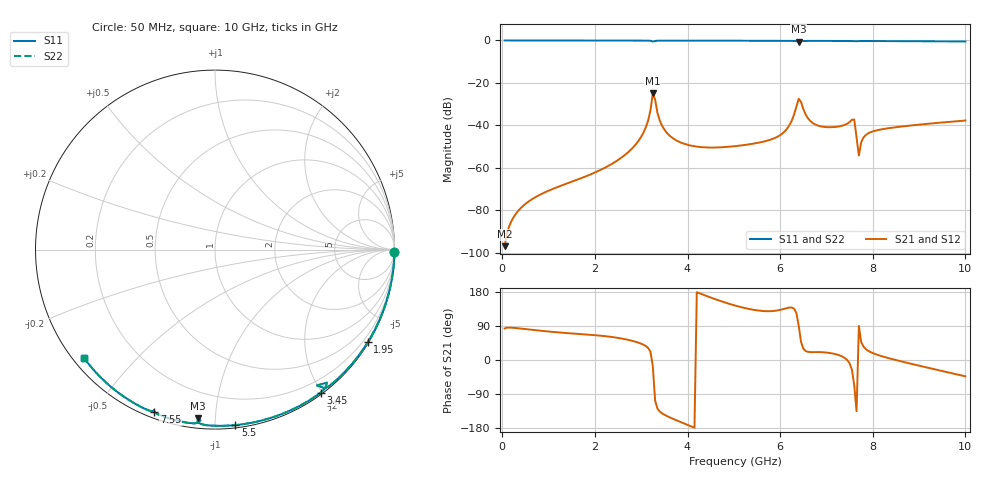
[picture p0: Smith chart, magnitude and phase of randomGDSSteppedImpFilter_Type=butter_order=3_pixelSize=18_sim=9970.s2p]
! freq	dB(S11)	phase(S11)	dB(S12)	phase(S12)
!  dB(S21)	phase(S21)	dB(S22)	phase(S22)
!S-par simulation data
#  GHz  S  DB  R 50
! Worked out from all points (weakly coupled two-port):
!   200 points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, 50 MHz to 10 GHz, reference 50 ohm
!   highest |S21| = -24.96 dB at 3.25 GHz (marker M1); lowest = -96.9 dB at 50 MHz (marker M2)
!   lowest |S11| = -0.5 dB at 6.4 GHz (marker M3), VSWR 33.59, Z = 2.71 - j45.2 ohm
!   |S11| at or under -10 dB: nowhere
!   |S22| runs from -0.5 to 0.0 dB; largest |S21 - S12| = 0
!   S11 on the Smith chart (normalised r, x): 50 MHz: open; 1.95 GHz: 0.03, -3.58; 3.45 GHz: 0.02, -1.98; 5.5 GHz: 0.02, -1.12; 7.55 GHz: 0.03, -0.69; 10 GHz: 0.03, -0.36
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0.05  -0.00 -0.8  -96.88 83.2  -96.88 83.2  -0.00 -0.8
1.75  -0.04 -28.1  -64.47 67.8  -64.47 67.8  -0.04 -28.1
1.95  -0.04 -31.2  -62.67 66.0  -62.67 66.0  -0.04 -31.2
2.9  -0.06 -46.1  -48.47 47.3  -48.47 47.3  -0.06 -46.1
3.15  -0.09 -50.4  -37.66 31.6  -37.66 31.6  -0.09 -50.4
3.25  -0.48 -53.1  -24.96 -15.9  -24.96 -15.9  -0.48 -53.1
3.4  -0.09 -52.6  -37.71 -136.0  -37.71 -136.0  -0.09 -52.6
3.45  -0.08 -53.6  -40.17 -140.8  -40.17 -140.8  -0.08 -53.6
4  -0.09 -62.0  -49.14 -171.2  -49.14 -171.2  -0.09 -62.0
5.05  -0.12 -77.1  -49.72 142.9  -49.72 142.9  -0.12 -77.1
5.5  -0.14 -83.3  -48.28 131.1  -48.28 131.1  -0.14 -83.3
6.1  -0.17 -91.7  -42.78 135.4  -42.78 135.4  -0.17 -91.7
6.4  -0.52 -95.7  -27.50 91.1  -27.50 91.1  -0.52 -95.7
6.7  -0.20 -98.8  -38.81 20.8  -38.81 20.8  -0.20 -98.8
7.15  -0.22 -105.0  -40.81 16.7  -40.81 16.7  -0.22 -104.9
7.55  -0.30 -110.4  -37.37 -25.6  -37.37 -25.6  -0.30 -110.4
7.6  -0.39 -110.8  -37.26 -66.9  -37.26 -66.9  -0.39 -110.8
7.7  -0.29 -111.5  -54.20 89.9  -54.20 89.9  -0.29 -111.5
7.75  -0.27 -112.3  -47.98 47.2  -47.98 47.2  -0.27 -112.2
7.85  -0.27 -113.6  -44.49 28.9  -44.49 28.9  -0.27 -113.6
8.35  -0.31 -120.1  -41.29 4.6  -41.29 4.6  -0.31 -120.0
10  -0.48 -140.5  -37.71 -43.1  -37.71 -43.1  -0.48 -140.5
